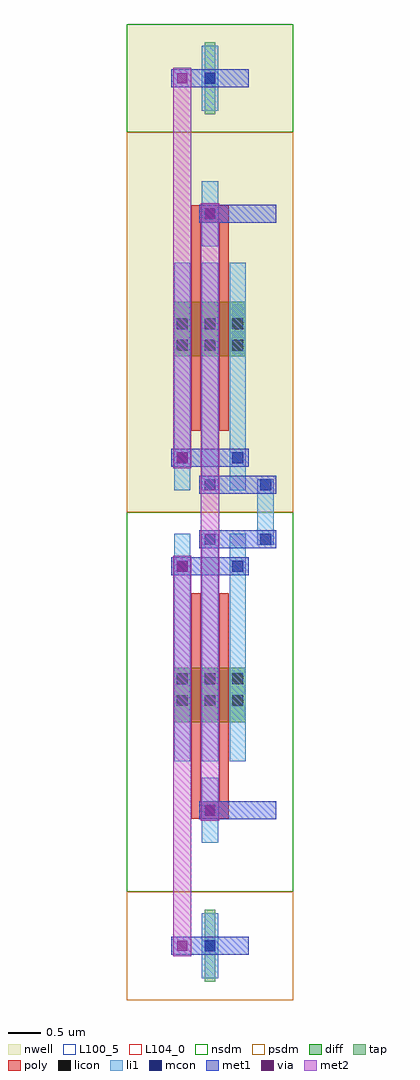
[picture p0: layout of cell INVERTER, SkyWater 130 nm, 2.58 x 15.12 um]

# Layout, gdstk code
import gdstk
lib = gdstk.Library(unit=1e-6, precision=1e-09)
def R(c, l, rs):  # rectangles x0, y0, x1, y1
    for r in rs: c.add(gdstk.rectangle(r[:2], r[2:], *l))
def A(c, l, x, y, w, h, nx, ny, dx, dy):  # array of equal rectangles
    R(c, l, [(x+i*dx, y+j*dy, x+i*dx+w, y+j*dy+h) for i in range(nx) for j in range(ny)])
nwell = (64, 20)
diff = (65, 20)
tap = (65, 44)
poly = (66, 20)
licon = (66, 44)
li1 = (67, 20)
mcon = (67, 44)
met1 = (68, 20)
via = (68, 44)
met2 = (69, 20)
nsdm = (93, 44)
psdm = (94, 20)
L100_5 = (100, 5)
L104_0 = (104, 0)

inverter = lib.new_cell('INVERTER')
R(inverter, nwell, [(0,7.56,2.58,15.12)])
R(inverter, diff, [(0.735,4.305,1.845,5.145), (0.735,9.975,1.845,10.815)])
R(inverter, tap, [(1.205,0.28,1.375,1.4), (1.205,13.72,1.375,14.84)])
R(inverter, poly, [(1,2.805,1.58,3.075), (1,2.94,1.15,6.3), (1.43,2.94,1.58,6.3), (1,8.82,1.15,12.18), (1.43,8.82,1.58,12.18), (1,12.045,1.58,12.315)])
A(inverter, licon, 0.775, 4.555, 0.17, 0.17, 3, 2, 0.43, 0.34)
A(inverter, licon, 0.775, 10.055, 0.17, 0.17, 3, 2, 0.43, 0.34)
R(inverter, licon, [(1.205,0.755,1.375,0.925), (1.205,2.855,1.375,3.025), (1.205,12.095,1.375,12.265), (1.205,14.195,1.375,14.365)])
A(inverter, li1, 0.735, 3.695, 0.25, 3.53, 3, 2, 0.43, 4.2)
R(inverter, li1, [(1.165,0.335,1.415,1.345), (1.165,2.435,1.415,3.445), (2.025,7.055,2.275,8.065), (1.165,11.675,1.415,12.685), (1.165,13.775,1.415,14.785)])
R(inverter, mcon, [(1.205,0.755,1.375,0.925), (1.205,2.855,1.375,3.025), (0.775,6.635,0.945,6.805), (1.635,6.635,1.805,6.805), (1.205,7.055,1.375,7.225), (2.065,7.055,2.235,7.225), (1.205,7.895,1.375,8.065), (2.065,7.895,2.235,8.065), (0.775,8.315,0.945,8.485), (1.635,8.315,1.805,8.485), (1.205,12.095,1.375,12.265), (1.205,14.195,1.375,14.365)])
R(inverter, met1, [(0.69,0.7,1.89,0.98), (1.12,2.8,2.32,3.08), (0.69,6.58,1.89,6.86), (1.12,7,2.32,7.28), (1.12,7.84,2.32,8.12), (0.69,8.26,1.89,8.54), (1.12,12.04,2.32,12.32), (0.69,14.14,1.89,14.42)])
R(inverter, via, [(0.785,0.765,0.935,0.915), (1.215,2.865,1.365,3.015), (0.785,6.645,0.935,6.795), (0.785,8.325,0.935,8.475), (1.215,12.105,1.365,12.255), (0.785,14.205,0.935,14.355)])
R(inverter, met2, [(0.72,0.68,1,6.88), (1.15,2.78,1.43,12.34), (0.72,8.24,1,14.44)])
R(inverter, nsdm, [(0,1.68,2.58,7.56), (0,13.44,2.58,15.12)])
R(inverter, psdm, [(0,0,2.58,1.68), (0,7.56,2.58,13.44)])
R(inverter, L100_5, [(0,0,2.58,15.12)])
R(inverter, L104_0, [(0,0,2.58,15.12)])

lib.write_gds('INVERTER.gds')
